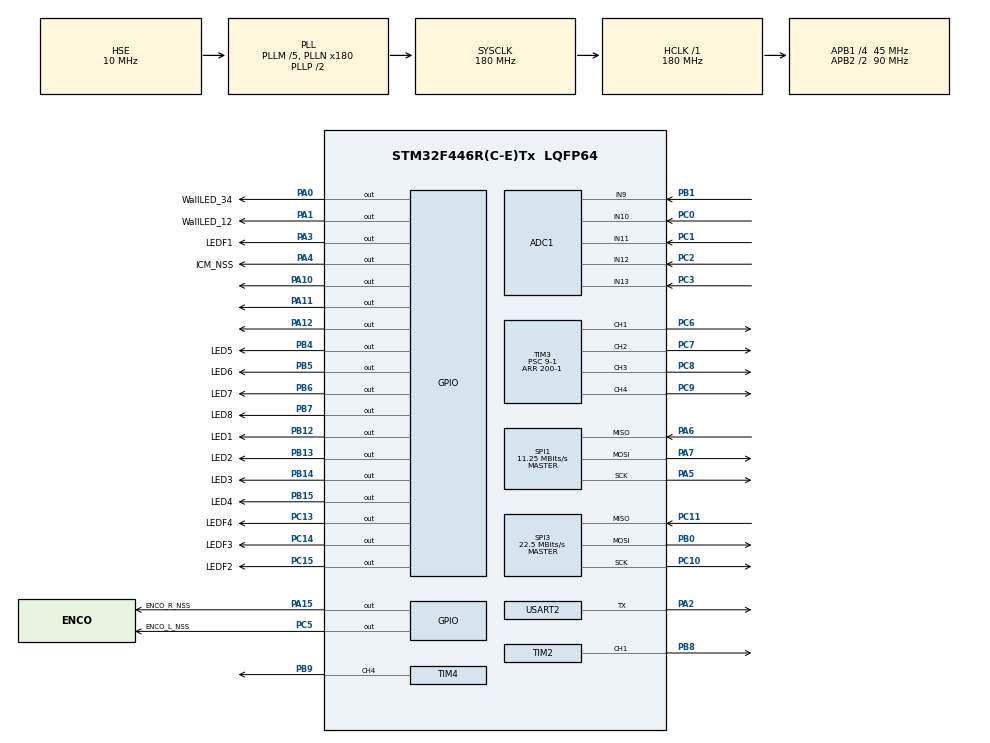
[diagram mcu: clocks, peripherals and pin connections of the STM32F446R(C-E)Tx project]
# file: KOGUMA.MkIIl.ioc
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ADC1.Channel-4\#ChannelRegularConversion=ADC_CHANNEL_9
ADC1.Channel-5\#ChannelRegularConversion=ADC_CHANNEL_10
ADC1.Channel-6\#ChannelRegularConversion=ADC_CHANNEL_11
ADC1.Channel-7\#ChannelRegularConversion=ADC_CHANNEL_12
ADC1.Channel-8\#ChannelRegularConversion=ADC_CHANNEL_13
ADC1.ClockPrescaler=ADC_CLOCK_SYNC_PCLK_DIV8
ADC1.ContinuousConvMode=ENABLE
ADC1.DMAContinuousRequests=ENABLE
ADC1.NbrOfConversion=5
ADC1.NbrOfConversionFlag=1
ADC1.Rank-4\#ChannelRegularConversion=1
ADC1.Rank-5\#ChannelRegularConversion=2
ADC1.Rank-6\#ChannelRegularConversion=3
ADC1.Rank-7\#ChannelRegularConversion=4
ADC1.Rank-8\#ChannelRegularConversion=5
ADC1.SamplingTime-4\#ChannelRegularConversion=ADC_SAMPLETIME_3CYCLES
ADC1.SamplingTime-5\#ChannelRegularConversion=ADC_SAMPLETIME_3CYCLES
ADC1.SamplingTime-6\#ChannelRegularConversion=ADC_SAMPLETIME_3CYCLES
ADC1.SamplingTime-7\#ChannelRegularConversion=ADC_SAMPLETIME_3CYCLES
ADC1.SamplingTime-8\#ChannelRegularConversion=ADC_SAMPLETIME_3CYCLES
ADC1.ScanConvMode=ENABLE
ADC1.master=1
Dma.ADC1.0.Direction=DMA_PERIPH_TO_MEMORY
Dma.ADC1.0.FIFOMode=DMA_FIFOMODE_DISABLE
Dma.ADC1.0.Instance=DMA2_Stream0
Dma.ADC1.0.MemDataAlignment=DMA_MDATAALIGN_HALFWORD
Dma.ADC1.0.MemInc=DMA_MINC_ENABLE
Dma.ADC1.0.Mode=DMA_NORMAL
Dma.ADC1.0.PeriphDataAlignment=DMA_PDATAALIGN_HALFWORD
Dma.ADC1.0.PeriphInc=DMA_PINC_DISABLE
Dma.ADC1.0.Priority=DMA_PRIORITY_LOW
Dma.Request0=ADC1
Mcu.Family=STM32F4
Mcu.Name=STM32F446R(C-E)Tx
Mcu.Package=LQFP64
NVIC.DMA2_Stream0_IRQn=true\:0\:0\:false\:false\:true\:false\:true\:true
NVIC.PriorityGroup=NVIC_PRIORITYGROUP_4
NVIC.TIM6_DAC_IRQn=true\:0\:0\:false\:false\:true\:true\:true\:true
PA0-WKUP.GPIO_Label=WallLED_34
PA0-WKUP.Signal=GPIO_Output
PA1.GPIO_Label=WallLED_12
PA1.Signal=GPIO_Output
PA10.Signal=GPIO_Output
PA11.Signal=GPIO_Output
PA12.Signal=GPIO_Output
PA13.Signal=SYS_JTMS-SWDIO
PA14.Signal=SYS_JTCK-SWCLK
PA15.GPIO_Label=ENCO_R_NSS
PA15.Signal=GPIO_Output
PA2.Mode=Half_duplex(single_wire_mode)
PA2.Signal=USART2_TX
PA3.GPIO_Label=LEDF1
PA3.Signal=GPIO_Output
PA4.GPIO_Label=ICM_NSS
PA4.Signal=GPIO_Output
PA5.Mode=Full_Duplex_Master
PA5.Signal=SPI1_SCK
PA6.Mode=Full_Duplex_Master
PA6.Signal=SPI1_MISO
PA7.Mode=Full_Duplex_Master
PA7.Signal=SPI1_MOSI
PB0.Mode=Full_Duplex_Master
PB0.Signal=SPI3_MOSI
PB1.Signal=ADCx_IN9
PB12.GPIO_Label=LED1
PB12.Signal=GPIO_Output
PB13.GPIO_Label=LED2
PB13.Signal=GPIO_Output
PB14.GPIO_Label=LED3
PB14.Signal=GPIO_Output
PB15.GPIO_Label=LED4
PB15.Signal=GPIO_Output
PB4.GPIO_Label=LED5
PB4.Signal=GPIO_Output
PB5.GPIO_Label=LED6
PB5.Signal=GPIO_Output
PB6.GPIO_Label=LED7
PB6.Signal=GPIO_Output
PB7.GPIO_Label=LED8
PB7.Signal=GPIO_Output
PB8.Signal=S_TIM2_CH1_ETR
PB9.Signal=S_TIM4_CH4
PC0.Signal=ADCx_IN10
PC1.Signal=ADCx_IN11
PC10.Mode=Full_Duplex_Master
PC10.Signal=SPI3_SCK
PC11.Mode=Full_Duplex_Master
PC11.Signal=SPI3_MISO
PC13.GPIO_Label=LEDF4
PC13.Signal=GPIO_Output
PC14-OSC32_IN.GPIO_Label=LEDF3
PC14-OSC32_IN.Signal=GPIO_Output
PC15-OSC32_OUT.GPIO_Label=LEDF2
PC15-OSC32_OUT.Signal=GPIO_Output
PC2.Signal=ADCx_IN12
PC3.Signal=ADCx_IN13
PC5.GPIO_Label=ENCO_L_NSS
PC5.Signal=GPIO_Output
PC6.Signal=S_TIM3_CH1
PC7.Signal=S_TIM3_CH2
PC8.Signal=S_TIM3_CH3
PC9.Signal=S_TIM3_CH4
PH0-OSC_IN.Mode=HSE-External-Oscillator
PH0-OSC_IN.Signal=RCC_OSC_IN
PH1-OSC_OUT.Mode=HSE-External-Oscillator
PH1-OSC_OUT.Signal=RCC_OSC_OUT
ProjectManager.HeapSize=0x200
ProjectManager.StackSize=0x400
ProjectManager.TargetToolchain=STM32CubeIDE
RCC.AHBFreq_Value=180000000
RCC.APB1CLKDivider=RCC_HCLK_DIV4
RCC.APB1Freq_Value=45000000
RCC.APB1TimFreq_Value=90000000
RCC.APB2CLKDivider=RCC_HCLK_DIV2
RCC.APB2Freq_Value=90000000
RCC.APB2TimFreq_Value=180000000
RCC.CortexFreq_Value=180000000
RCC.HCLKFreq_Value=180000000
RCC.HSE_VALUE=10000000
RCC.PLLM=5
RCC.PLLN=180
RCC.PLLSourceVirtual=RCC_PLLSOURCE_HSE
RCC.SYSCLKFreq_VALUE=180000000
RCC.SYSCLKSource=RCC_SYSCLKSOURCE_PLLCLK
RCC.USBFreq_Value=180000000
RCC.VCOOutputFreq_Value=360000000
SH.ADCx_IN10.0=ADC1_IN10,IN10
SH.ADCx_IN11.0=ADC1_IN11,IN11
SH.ADCx_IN12.0=ADC1_IN12,IN12
SH.ADCx_IN13.0=ADC1_IN13,IN13
SH.ADCx_IN9.0=ADC1_IN9,IN9
SH.S_TIM2_CH1_ETR.0=TIM2_CH1,PWM Generation1 CH1
SH.S_TIM3_CH1.0=TIM3_CH1,PWM Generation1 CH1
SH.S_TIM3_CH2.0=TIM3_CH2,PWM Generation2 CH2
SH.S_TIM3_CH3.0=TIM3_CH3,PWM Generation3 CH3
SH.S_TIM3_CH4.0=TIM3_CH4,PWM Generation4 CH4
SH.S_TIM4_CH4.0=TIM4_CH4,PWM Generation4 CH4
SPI1.BaudRatePrescaler=SPI_BAUDRATEPRESCALER_8
SPI1.CLKPhase=SPI_PHASE_2EDGE
SPI1.CLKPolarity=SPI_POLARITY_HIGH
SPI1.CalculateBaudRate=11.25 MBits/s
SPI1.Direction=SPI_DIRECTION_2LINES
SPI1.Mode=SPI_MODE_MASTER
SPI1.VirtualType=VM_MASTER
SPI3.CLKPhase=SPI_PHASE_2EDGE
SPI3.CLKPolarity=SPI_POLARITY_HIGH
SPI3.CalculateBaudRate=22.5 MBits/s
SPI3.Direction=SPI_DIRECTION_2LINES
SPI3.Mode=SPI_MODE_MASTER
SPI3.VirtualNSS=VM_NSSHARD
SPI3.VirtualType=VM_MASTER
TIM2.Channel-PWM\ Generation1\ CH1=TIM_CHANNEL_1
TIM2.Period=100-1
TIM2.Prescaler=18-1
TIM2.Pulse-PWM\ Generation1\ CH1=15
TIM3.Channel-PWM\ Generation1\ CH1=TIM_CHANNEL_1
TIM3.Channel-PWM\ Generation2\ CH2=TIM_CHANNEL_2
TIM3.Channel-PWM\ Generation3\ CH3=TIM_CHANNEL_3
TIM3.Channel-PWM\ Generation4\ CH4=TIM_CHANNEL_4
TIM3.Period=200-1
TIM3.Prescaler=9-1
TIM4.Channel-PWM\ Generation4\ CH4=TIM_CHANNEL_4
TIM4.Period=100-1
TIM4.Prescaler=90-1
TIM6.AutoReloadPreload=TIM_AUTORELOAD_PRELOAD_ENABLE
TIM6.Period=1000-1
TIM6.Prescaler=90-1
TIM6.TIM_MasterOutputTrigger=TIM_TRGO_UPDATE
USART2.Mode=MODE_TX
USART2.VirtualMode=VM_ASYNC
VP_TIM6_VS_ClockSourceINT.Mode=Enable_Timer
board=custom

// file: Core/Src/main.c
/* USER CODE BEGIN Header */
/**
 ******************************************************************************
 * @file           : main.c
 * @brief          : Main program body
 ******************************************************************************
 * @attention
 *
 * Copyright (c) 2025 STMicroelectronics.
 * All rights reserved.
 *
 * This software is licensed under terms that can be found in the LICENSE file
 * in the root directory of this software component.
 * If no LICENSE file comes with this software, it is provided AS-IS.
 *
 ******************************************************************************
 */
/* USER CODE END Header */
#include "main.h"
#include "adc.h"
#include "dma.h"
#include "spi.h"
#include "tim.h"
#include "usart.h"
#include "gpio.h"

/* USER CODE BEGIN Includes */
#include <stdio.h>
#include "lsm6dsr.h"
#include "motor.h"
#include "PL_encoder.h"
#include "PL_timer.h"
#include "Motor.h"
#include "LOG.h"
#include "PL_sensor.h"
#include "UI.h"
#include "Wallsensor.h"
#include "Maze.h"
#include "Move.h"
#include "Failsafe.h"
#include "Define.h"
#include "SensorNoise.h"
/* USER CODE END Includes */

/* USER CODE BEGIN PD */
/* Maze_Search() の探索の組み合わせ(モード0) */
#define SEARCH_SLALOM		0x00	//スラローム探索(500mm/s、吸引なし)
#define SEARCH_SUCTION		0x01	//吸引探索(1000mm/s、吸引あり)
#define SEARCH_ALL			0x02	//復路でエセ全面探索
#define SEARCH_ONEWAY		0x04	//片道: ゴールで止まる
#define SEARCH_KNOWN		0x08	//既知区間加速(探索済みの区間はまとめて速く走る)
#define SEARCH_DIJKSTRA		0x10	//ゴール後にダイクストラ経路上の未確認の壁を見に行く
#define SEARCH_SHORTEST		0x20	//スタートに戻ったあと最短走行(モード1 No.5と同じ)
#define SEARCH_REPEAT		0x40	//最短走行を SEARCH_REPEAT_N 回(SEARCH_SHORTEST と一緒に。2回目からは、前の最短のゴールからスタートへ帰ってから走る)
#define SEARCH_REPEAT_N		4
#define SEARCH_KNOWN_NANAME	0x80	//既知区間を斜めで走る(SEARCH_KNOWN と一緒に。Move.c の G_Known_Naname、G_Turn1000)
/* USER CODE END PD */

/* USER CODE BEGIN PV */
/* 1 にすると、最短走行(モード1、モード0 No.8〜10 の探索後の最短)の壁切れを柱で見る
 * (区画の境目の柱の端から境目の位置を求め、前距離を直す。motor.c の G_WallCut_Pillar、
 * 設計は docs/pillar_cut_design.md)。0 なら従来どおり。探索中と斜めの壁切れはいつも従来どおり。
 * 2026-10-18 から 1(柱で前距離を合わせる。前距離の X の読み替えは motor.c の Pillar_X_Scale / Pillar_X_Ofs) */
static int Short_WallCut_Pillar = 1;

/* USER CODE END PV */

void SystemClock_Config(void);
/* USER CODE BEGIN PFP */
static void Maze_Search(int flags);
static void Maze_Shortest_Run(void (*run)(int, int), int max, int ac);
static void Output_All(void);
/* USER CODE END PFP */

int main(void) {

	/* MCU Configuration--------------------------------------------------------*/

	/* Reset of all peripherals, Initializes the Flash interface and the Systick. */
	HAL_Init();

	/* Configure the system clock */
	SystemClock_Config();

	/* Initialize all configured peripherals */
	MX_GPIO_Init();
	MX_DMA_Init();
	MX_ADC1_Init();
	MX_SPI1_Init();
	MX_SPI3_Init();
	MX_TIM2_Init();
	MX_TIM3_Init();
	MX_TIM4_Init();
	MX_USART2_UART_Init();
	MX_TIM6_Init();
	/* USER CODE BEGIN 2 */

	//HAL_TIM_Base_Start_IT(&htim6);
	pl_timer_init();
	lsm6dsr_init();
	Switch_Init();	//スイッチ(PB3)。フェイルセーフの解除に使う
	Maze_Initialization();
	if (g_V_batt < LIMITBATT) {
		while (1) {
			LED_Reset();
			HAL_Delay(500);
			LED_ALL_ON();
			HAL_Delay(500);
		}
	}

	LED_Setup_Robot();

//
	HAL_TIM_PWM_Start(&htim4, TIM_CHANNEL_4); //buzeer
//
//	HAL_TIM_PWM_Start(&htim2, TIM_CHANNEL_1);

	/* USER CODE END 2 */

	/* Infinite loop */
	while (1) {

		/* USER CODE BEGIN 3 */

		if (Failsafe_Flag() == 1) {	//走りの途中でフェイルセーフで止まった: スイッチを押すまで待ち、モード0・No.0 に戻る
			Failsafe_Wait_Reset();
		}
		LED_program_number(Encorder_number_out());
		LED_program_mode(Encorder_mode_out());
		Maze_Unkown_ALL_ModeOFF();
		Motor_Setup_Voltage();
		if (Encorder_mode_out() == 0) {		//大会用
			/* 探索の組み合わせは Maze_Search() の引数で指定する(下の SEARCH_*)。
			 * No.0 と No.13〜15 は何もしない */
			int n = Encorder_number_out();
			int flags = -1;
			if (n == 1) {			//スラローム探索 往復
				flags = SEARCH_SLALOM;
			} else if (n == 2) {	//スラローム探索+エセ全面探索
				flags = SEARCH_SLALOM | SEARCH_ALL;
			} else if (n == 3) {	//スラローム探索 片道(ゴールで止まる)
				flags = SEARCH_SLALOM | SEARCH_ONEWAY;
			} else if (n == 4) {	//吸引探索 往復
				flags = SEARCH_SUCTION;
			} else if (n == 5) {	//吸引探索+エセ全面探索
				flags = SEARCH_SUCTION | SEARCH_ALL;
			} else if (n == 6) {	//ダイクストラ誘導の未知壁探索
				flags = SEARCH_SUCTION | SEARCH_DIJKSTRA;
			} else if (n == 7) {	//ダイクストラ誘導の未知壁探索+既知区間加速
				flags = SEARCH_SUCTION | SEARCH_DIJKSTRA | SEARCH_KNOWN;
			} else if (n == 8) {	//スラローム探索 往復 → 最短
				flags = SEARCH_SLALOM | SEARCH_SHORTEST;
			} else if (n == 9) {	//吸引探索 往復 → 最短
				flags = SEARCH_SUCTION | SEARCH_SHORTEST;
			} else if (n == 10) {	//ダイクストラ誘導+既知区間加速 → 最短
				flags = SEARCH_SUCTION | SEARCH_DIJKSTRA | SEARCH_KNOWN
						| SEARCH_SHORTEST;
			} else if (n == 11) {	//No.10 の最短を4回(最短のあとはゴールから、帰りもダイクストラ誘導で探索しながらスタートへ帰る)
				flags = SEARCH_SUCTION | SEARCH_DIJKSTRA | SEARCH_KNOWN
						| SEARCH_SHORTEST | SEARCH_REPEAT;
			} else if (n == 12) {	//No.10 の既知区間を斜めで走る(お遊び。G_Turn1000、2026-10-21)
				flags = SEARCH_SUCTION | SEARCH_DIJKSTRA | SEARCH_KNOWN
						| SEARCH_KNOWN_NANAME | SEARCH_SHORTEST;
			}
			if ((flags >= 0) && (Sensor_Enter() == 1)) {
				Maze_Search(flags);
			}
		} else if (Encorder_mode_out() == 1) {		//�?短
			/* 最短走行。No.0 と No.14〜15 は何もしない。
			 * No.12・No.13 は No.8・No.5 と同じ走りを、壁切れだけ従来(Short_WallCut_Pillar = 0)で走る(柱と比べる用) */
			int n = Encorder_number_out();
			void (*run)(int, int) = NULL;
			int ac = 0;
			int conv = 0;	//1 なら壁切れを従来にする
			int ac_nn = 0;	//斜めの直線の加速度(0 なら既定: ac-5000)
			if (n == 1) {			//BFS コーナー2000 直線6000 加速15000
				run = Short_NANAME_Move2000;
				ac = 15000;
				ac_nn = 10000;
			} else if (n == 2) {	//BFS コーナー2000 直線6000 加速20000
				run = Short_NANAME_Move2000;
				ac = 20000;
				ac_nn = 15000;
			} else if (n == 3) {	//BFS コーナー2400 直線6000 加速20000
				run = Short_NANAME_Move2400;
				ac = 20000;
				ac_nn = 15000;
			} else if (n == 4) {	//ダイクストラ コーナー2000 直線6000 加速15000
				run = Short_Dijkstra_Move2000;
				ac = 15000;
				ac_nn = 10000;
			} else if (n == 5) {	//ダイクストラ コーナー2000 直線6000 加速20000
				run = Short_Dijkstra_Move2000;
				ac = 20000;
				ac_nn = 15000;
			} else if (n == 6) {	//ダイクストラ コーナー2000 直線6000 加速23000
				run = Short_Dijkstra_Move2000;
				ac = 23000;
				ac_nn = 18000;
			} else if (n == 7) {	//ダイクストラ コーナー2000 直線6000 加速25000
				run = Short_Dijkstra_Move2000;
				ac = 25000;
				ac_nn = 20000;
			} else if (n == 8) {	//ダイクストラ コーナー2400 直線6000 加速20000
				run = Short_Dijkstra_Move2400;
				ac = 20000;
				ac_nn = 15000;
			} else if (n == 9) {	//ダイクストラ コーナー2400 直線6000 加速23000
				run = Short_Dijkstra_Move2400;
				ac = 23000;
				ac_nn = 18000;
			} else if (n == 10) {	//BFS ターンごとの通過速度(2400基準) 直線6000 加速20000
				run = Short_NANAME_MoveTurnV;
				ac = 20000;
				ac_nn = 15000;
			} else if (n == 11) {	//ダイクストラ ターンごとの通過速度(2400基準) 直線6000 加速20000
				run = Short_Dijkstra_MoveTurnV;
				ac = 20000;
				ac_nn = 15000;
			} else if (n == 12) {	//No.8 と同じ(ダイクストラ 2400)、壁切れは従来
				run = Short_Dijkstra_Move2400;
				ac = 20000;
				ac_nn = 15000;
				conv = 1;
			} else if (n == 13) {	//No.5 と同じ(ダイクストラ 2000)、壁切れは従来
				run = Short_Dijkstra_Move2000;
				ac = 20000;
				ac_nn = 15000;
				conv = 1;
			}
			if ((run != NULL) && (Sensor_Enter() == 1)) {
				int pillar_prev = Short_WallCut_Pillar;
				if (conv) {
					Short_WallCut_Pillar = 0;
				}
				G_Short_AC_NANAME = ac_nn;
				Maze_Shortest_Run(run, 6000, ac);
				G_Short_AC_NANAME = 0;
				Short_WallCut_Pillar = pillar_prev;
			}
		} else if (Encorder_mode_out() == 2) {		//サーキ�?�?

		} else if (Encorder_mode_out() == 3) {		//�?バッグ用
			if (Encorder_number_out() == 1) {		//2m/s
				if (Sensor_Enter() == 1) {
					Buzzer_Enter();
					Sensor_Start();

					Motor_Setup();
					Motor_Stop();
					Short_NANAME_Move2000(2000, 20000);
					Motor_Free();
					LED_Reset();
					HAL_Delay(500);
					Encorder_count_reset();
				}
			} else if (Encorder_number_out() == 2) {		//
				if (Sensor_Enter() == 1) {
					Buzzer_Enter();
					Sensor_Start();

					Motor_Setup();
					Motor_Stop();
					Short_NANAME_Move2400(2400, 20000);
					Motor_Free();
					LED_Reset();
					HAL_Delay(500);
					Encorder_count_reset();
				}
			} else if (Encorder_number_out() == 3) {		//
				if (Sensor_Enter() == 1) {
					Buzzer_Enter();
					Sensor_Start();

					Motor_Setup();
					Motor_Stop();
					Short_NANAME_Move2700(2700, 20000);
					Motor_Free();
					LED_Reset();
					HAL_Delay(500);
					Encorder_count_reset();
				}
			} else if (Encorder_number_out() == 4) {		//距離キャリブレーション
				if (Sensor_Enter() == 1) {
					Buzzer_Enter();
					Sensor_Start();
					Wall_Distance_Calibration();
				}
			} else if (Encorder_number_out() == 5) {		//会場ごとの感度合わせ(区画中心)
				if (Sensor_Enter() == 1) {
					Buzzer_Enter();
					Sensor_Start();
					Wall_Center_Calibration();
				}
			} else if ((Encorder_number_out() >= 6)
					&& (Encorder_number_out() <= 9)) {	//壁切れの位置のテスト
				/* スタート位置(後ろの壁に付けて置く)から4区画まっすぐ走り、柱の端(fall)と、
				 * 比べるための閾値の判定(th: av 従来の g_sensor_av < Cut_*、med 3回の中央値 < Cut_*)、
				 * 1mmごとの横センサの値(sig)を残す。結果は出力(モード4 No.7)で出す。
				 * fall の c-border は、境目の推定 c と区画の境目(114 + 180k)の差。0 になるように Edge_Off を直す。
				 * No.6: 500(吸引なし)、No.7: 1000、No.8: 2000、No.9: 2400(No.7〜9は吸引70)。加速度20000。
				 * 同じ置き方で速度を変えて走らせ、c-border が速度・左右・種類でどれだけ変わるかを見る */
				if (Sensor_Enter() == 1) {
					const float v_tab[4] = { 500, 1000, 2000, 2400 };
					int no = Encorder_number_out();
					float v = v_tab[no - 6];
					Buzzer_Enter();
					Sensor_Start();
					Motor_Setup();
					if (no >= 7) {
						Suction_Start(70);
						HAL_Delay(500);
					}
					Edge_Log_Start(1, 114, v);
					Motor_trapezoid_PID(0, v, 0, 20000, 114 + 180 * 4);
					Motor_Stop();
					Edge_Log_Stop();
					Suction_Stop();
					Motor_Free();
					Encorder_count_reset();
				}
			} else if (Encorder_number_out() == 10) {	//吸引のときのセンサのノイズ
				/* 止まったまま(モーターは使わない)、吸引(0/35/50/70)とセンサの読み方(吸引のPWMに合わせて読むか)を
				 * 変えて、点灯時・消灯時の生の値のばらつきを測る。15秒ほど。
				 * USBをつないだまま走らせると、測ったそばから出す(tools/viewer.html でグラフになる)。
				 * つながずに走らせたときは、出力(モード4 No.7)でばらつきの表だけ出る。docs/sensor_noise.md */
				if (Sensor_Enter() == 1) {
					Buzzer_Enter();
					Sensor_Start();
					SensorNoise_Run();
					Buzzer_Enter();
					Encorder_count_reset();
				}
			}
		} else if (Encorder_mode_out() == 4) {		//基本調整
			if (Encorder_number_out() == 0) {		//センサ
				Wall_search_LED();
//								__HAL_TIM_SET_COMPARE(&htim2, TIM_CHANNEL_1, 35);
//								__HAL_TIM_SET_AUTORELOAD(&htim2, 100);
//								HAL_TIM_PWM_Start(&htim2, TIM_CHANNEL_1);
				//Suction_Start(35);
//				printf("FL = %4d //", g_sensor_av[0]);
//				printf(" L = %4d //", g_sensor_av[2]);
//				printf(" R = %4d //", g_sensor_av[1]);
//				printf("FR = %4d //", g_sensor_av[3]);
				printf("FL = %4d //", g_sensor_av10[0]);
				printf(" L = %4d //", g_sensor_av10[2]);
				printf(" R = %4d //", g_sensor_av10[1]);
				printf("FR = %4d //", g_sensor_av10[3]);
//				printf("FL = %4d //", g_sensor[0][0]);
//				printf(" L = %4d //", g_sensor[2][0]);
//				printf(" R = %4d //", g_sensor[1][0]);
//				printf("FR = %4d //", g_sensor[3][0]);
				printf("BATT = %.2f//", g_V_batt);
				printf("GyroZ = %.3f\n\r", read_NoiseCut_gyro_z());
			} else if (Encorder_number_out() == 1) {		//直進
				if (Sensor_Enter() == 1) {
					Buzzer_Enter();
					Sensor_Start();
					///
					/* タイヤ径の測定用(2026-10-09): 本番と同じ吸引で、滑らないようにゆっくり 180mm×6 = 1080mm 走る。
					 * 実際に進んだ距離を測り、Define.h の TIREDIAMETER = 今の値 × 実際の距離 / エンコーダの距離 にする。
					 * エンコーダの距離は走行ログ(モード4 No.7)の最後の x。1080 ではない: 減速は時間で進めるので、
					 * 速度が目標に遅れた分だけ手前で止まる(2026-10-21 は 1065.1)
					 * 吸引は探索(モード0の吸引探索)と同じ 35(2026-10-21。それまでは 2400 などと同じ 70) */
					Motor_Setup();
					Suction_Start(35);
					LOG_get_start();
					//					Motor_trapezoid_PID(0, 2000, 2000, 60000, 24);
					//					Motor_trapezoid_PID(2000, 2000, 0, 35000, 90);
					//Motor_Multistage_PID(0, 7000, 0, 25000, 180 * 9);
					//Motor_trapezoid_PID(0, 3000, 0, 20000, 180 * 9);
					//Motor_trapezoid_Asymmetric_PID(0, 4000, 0, 23000, 180 * 9);
					//Motor_trapezoid_PID(0, 3000, 0, 10000, 180*8);	//2026-10-09 まで(吸引35)
					Motor_trapezoid_PID(0, 1000, 0, 5000, 180 * 6);
					Motor_Stop();
					Motor_Stop();
					Motor_Stop();
					Suction_Stop();
					LOG_get_end();
					///
					//Motor_trapezoid_PID(0, 6000, 0, 50000, 180 * 4);
					Encorder_count_reset();
				}
			} else if (Encorder_number_out() == 2) {//??????��?��??��?��???��?��??��?��????��?��??��?��???��?��??��?��?????��?��??��?��???��?��??��?��????��?��??��?��???��?��??��?��?シン??????��?��??��?��???��?��??��?��????��?��??��?��???��?��??��?��?????��?��??��?��???��?��??��?��????��?��??��?��???��?��??��?��?
				if (Sensor_Enter() == 1) {
					Buzzer_Enter();
					Sensor_Start();
					///
					Motor_Setup();
					Suction_Start(35);
					LOG_get_start();
					//					for (int i = 0; i < 20; i++) {
					//						Motor_trapezoid_Turn(90, 600, 20000);
					//						Motor_Stop();
					//					}
					Motor_trapezoid_Turn(180, 1000, 30000);
					//Motor_trapezoid_Turn(3600, 600, 20000);
					///
					Motor_Stop();
					Suction_Stop();
					LOG_get_end();
					Encorder_count_reset();
				}
			} else if (Encorder_number_out() == 3) {//スラロー??????��?��??��?��???��?��??��?��????��?��??��?��???��?��??��?��?????��?��??��?��???��?��??��?��????��?��??��?��???��?��??��?��?
				if (Sensor_Enter() == 1) {
					Buzzer_Enter();
					Sensor_Start();
					//
					Motor_Setup();
					LOG_get_start();
					Motor_trapezoid_PID(0, 500, 500, 5000, 90 + 180 + 20);
					Motor_Sula_COS(500, 90, 700, 10000);
					Motor_trapezoid(500, 500, 0, 5000, 180 + 25);
					Motor_Stop();
					LOG_get_end();
					//
					Encorder_count_reset();
				}
			} else if (Encorder_number_out() == 4) {		//斜め
				if (Sensor_Enter() == 1) {
					Buzzer_Enter();
					Sensor_Start();
					Suction_Start(70);
					Motor_Setup();
					//Motor_NANAME_PID(0, 2000, 0, 5000, 127.3 * 6);
					Motor_NANAME_PID(0, 5000, 0, 20000, 127.3 * 6);
					Motor_Stop();
					Suction_Stop();
					Encorder_count_reset();
				}
			} else if (Encorder_number_out() == 5) {//吸??????��?��??��?��???��?��??��?��????��?��??��?��???��?��??��?��?????��?��??��?��???��?��??��?��????��?��??��?��???��?��??��?��?
				if (Sensor_Enter() == 1) {
					Buzzer_Enter();
					Sensor_Start();
					__HAL_TIM_SET_COMPARE(&htim2, TIM_CHANNEL_1, 90);
					__HAL_TIM_SET_AUTORELOAD(&htim2, 99);
					HAL_TIM_PWM_Start(&htim2, TIM_CHANNEL_1);
					while (1) {
						if (Sensor_Enter() == 1) {
							break;
						}
					}
					HAL_TIM_PWM_Stop(&htim2, TIM_CHANNEL_1);

				}
			} else if (Encorder_number_out() == 6) {		//壁合わせ
				if (Sensor_Enter() == 1) {
					Buzzer_Enter();
					Sensor_Start();

					Motor_Setup();
					Suction_Start(35);
					Motor_Robot_Alignment();
					Motor_Stop();
					Suction_Stop();
					Encorder_count_reset();
				}
			} else if (Encorder_number_out() == 7) {		//出力(残っているデータを全部)
				if (Sensor_Enter() == 1) {
					Buzzer_Enter();
					Sensor_Start();
					Output_All();
					HAL_Delay(1000);
				}
			} else if (Encorder_number_out() == 8) {		//直進(横壁制御をセンサ値版で)
				/* No.1と同じ直進を、この走行のあいだだけ G_WallCtrl_Use_mm = 0
				 * (従来のセンサ値版、ゲインは Kp / Kd)で走る。標準(距離版)との比較・切り戻し用。
				 * 比べられるように、速度・加速度・吸引・距離はNo.1と同じにする(2026-10-18 まではNo.1と違い 3000・吸引35だった) */
				if (Sensor_Enter() == 1) {
					Buzzer_Enter();
					Sensor_Start();
					Motor_Setup();
					Suction_Start(70);
					LOG_get_start();
					int use_mm_prev = G_WallCtrl_Use_mm;
					G_WallCtrl_Use_mm = 0;
					Motor_trapezoid_PID(0, 1000, 0, 5000, 180 * 8);
					Motor_Stop();
					G_WallCtrl_Use_mm = use_mm_prev;
					Suction_Stop();
					LOG_get_end();
					Encorder_count_reset();
				}
			} else if ((Encorder_number_out() >= 9)
					&& (Encorder_number_out() <= 14)) {	//最初のターンの調整
				/* 最短走行の最初のターン(右)だけを、スタート位置から走る。
				 * No.9: 大回り90、No.10: 斜め入り45、No.11: 斜め入り135。
				 * No.12〜14: 同じターンを、加速しながら曲がる方式(G_First_Turn_Accel = 1)で走る。
				 * ターンのあとは後距離で2400へ加速し、そのまままっすぐ(斜めは斜めに)減速して止まる。
				 * パラメータは Move.c の G_First_Turn。ログ(2秒)はモード4 No.7で出力 */
				if (Sensor_Enter() == 1) {
					int no = Encorder_number_out();
					int m = (no - 9) % 3;
					int kind = (m == 0) ? FIRST_TURN_BIG90 :
								(m == 1) ? FIRST_TURN_IN45 : FIRST_TURN_IN135;
					int accel_prev = G_First_Turn_Accel;
					G_First_Turn_Accel = (no >= 12);
					Buzzer_Enter();
					Sensor_Start();
					Suction_Start(70);
					HAL_Delay(500);
					Motor_Setup();
					float v = Short_First_Turn_Run(kind, 1, 2400);
					G_First_Turn_Accel = accel_prev;
					if (kind == FIRST_TURN_BIG90) {
						Motor_trapezoid_PID(v, v, 0, 30000, 180);
					} else {
						Motor_NANAME_PID(v, v, 0, 30000, 127.3 * 2);
					}
					Motor_Stop();
					HAL_Delay(300);
					Suction_Stop();
					LOG_get_end();
					Encorder_count_reset();
				}
			}
		} else if (Encorder_mode_out() == 5) {		//1m/s
			if (Encorder_number_out() == 0) {		//90小回�?
				if (Sensor_Enter() == 1) {
					Buzzer_Enter();
					Sensor_Start();

					Motor_Setup();
					Suction_Start(35);

					HAL_Delay(1000);
					LOG_get_start();
					Motor_trapezoid_PID(0, 1000, 1000, 8000, 90 + 180);
					//Motor_trapezoid_PID(1000, 1000, 1000, 15000, 15);
					Motor_Sula_ST(1000, 1000, 1000, 15000, 15);
					Motor_Sula_COS(1000, 90, 1640, 60000);
					Motor_trapezoid(1000, 1000, 1000, 15000, 50);
					Motor_trapezoid(1000, 1000, 0, 15000, 180);

					Motor_Stop();

					HAL_Delay(500);
					Suction_Stop();
					LOG_get_end();

					Encorder_count_reset();

				}
			} else if ((Encorder_number_out() >= 1)
					&& (Encorder_number_out() <= 7)) {	//1000のターン単体(G_Turn1000、左旋回)
				/* No.1 大回り90、2 大回り180、3 斜め入り45、4 斜め入り135、5 斜め出45、6 斜め出135、7 V90。
				 * 値は Move.c の G_Turn1000(吸引探索の既知区間の斜め、モード0 No.12 と共通、2026-10-21)。吸引は探索と同じ35 */
				if (Sensor_Enter() == 1) {
					int n = Encorder_number_out();
					Buzzer_Enter();
					Sensor_Start();

					Motor_Setup();
					Suction_Start(35);

					HAL_Delay(1000);
					LOG_get_start();
					Turn1000_Test(n - 1);

					Motor_Stop();

					HAL_Delay(500);
					Suction_Stop();
					LOG_get_end();

					Encorder_count_reset();
				}
			}
		} else if (Encorder_mode_out() == 6) {	//2.0m/s
			if (Encorder_number_out() == 0) {		//
				if (Sensor_Enter() == 1) {
					Buzzer_Enter();
					Sensor_Start();

					Motor_Setup();
					Suction_Start(51);

					HAL_Delay(1000);
					LOG_get_start();
					Motor_trapezoid_PID(0, 6000, 0, 40000, 180 * 6);

					Motor_Stop();

					HAL_Delay(500);
					Suction_Stop();
					LOG_get_end();

					Encorder_count_reset();
				}
			} else if ((Encorder_number_out() >= 1)
					&& (Encorder_number_out() <= 7)) {	//2000のターン単体(G_Turn2000、左旋回)
				/* No.1 大回り90、2 大回り180、3 斜め入り45、4 斜め入り135、5 斜め出45、6 斜め出135、7 V90。
				 * 値は Move.c の G_Turn2000(BFS・ダイクストラの2000と共通、2026-10-09) */
				if (Sensor_Enter() == 1) {
					int n = Encorder_number_out();
					Buzzer_Enter();
					Sensor_Start();

					Motor_Setup();
					Suction_Start(50);

					HAL_Delay(1000);
					LOG_get_start();
					Turn2000_Test(n - 1);

					Motor_Stop();

					HAL_Delay(500);
					Suction_Stop();
					LOG_get_end();

					Encorder_count_reset();
				}
			}
		} else if (Encorder_mode_out() == 7) {	//2.4m/s
			if (Encorder_number_out() == 0) {		//
				if (Sensor_Enter() == 1) {
					Buzzer_Enter();
					Sensor_Start();

				}
			} else if ((Encorder_number_out() >= 1)
					&& (Encorder_number_out() <= 7)) {	//2400のターン単体(G_Turn2400、左旋回)
				/* No.1 大回り90、2 大回り180、3 斜め入り45、4 斜め入り135、5 斜め出45、6 斜め出135、7 V90。
				 * 値は Move.c の G_Turn2400(Short_NANAME_Move2400 と共通、2026-10-21)。1つずつ単体で走る(Turn2400_Test) */
				if (Sensor_Enter() == 1) {
					int n = Encorder_number_out();
					Buzzer_Enter();
					Sensor_Start();

					Motor_Setup();
					Suction_Start(70);

					HAL_Delay(1000);
					LOG_get_start();
					Turn2400_Test(n - 1);

					Motor_Stop();

					HAL_Delay(500);
					Suction_Stop();
					LOG_get_end();

					Encorder_count_reset();
				}
			}
		} else if (Encorder_mode_out() == 8) {			//2.7m/s
			if (Encorder_number_out() == 0) {		//
				if (Sensor_Enter() == 1) {
					Buzzer_Enter();
					Sensor_Start();
				}
			} else if (Encorder_number_out() == 1) {		//
				if (Sensor_Enter() == 1) {
					Buzzer_Enter();
					Sensor_Start();

					Motor_Setup();
					Suction_Start(85);

					HAL_Delay(1000);
					LOG_get_start();
					Motor_trapezoid_PID(0, 2700, 2700, 25000, 180 + 90 + 90);
					Motor_trapezoid_PID(2700, 2700, 2700, 15000, 25);
					//Motor_Wallcut_ST(2000, 50, 0);
					Motor_Sula_COS(2700, 90, 2300, 70000);
					Motor_trapezoid(2700, 2700, 2700, 15000, 68);
					Motor_trapezoid(2700, 2700, 0, 30000, 180);

					Motor_Stop();

					HAL_Delay(500);
					Suction_Stop();
					LOG_get_end();

					Encorder_count_reset();
				}
			} else if (Encorder_number_out() == 2) {		//
				if (Sensor_Enter() == 1) {
					Buzzer_Enter();
					Sensor_Start();

					Motor_Setup();
					Suction_Start(85);

					HAL_Delay(1000);
					LOG_get_start();
					Motor_trapezoid_PID(0, 2700, 2700, 25000, 180 + 90 + 90);
					Motor_trapezoid_PID(2700, 2700, 2700, 15000, 10);
					//Motor_Wallcut_ST(2000, 50, 0);
					Motor_Sula_COS(2700, 180, 1700, 40000);
					Motor_trapezoid(2700, 2700, 2700, 15000, 58);
					Motor_trapezoid(2700, 2700, 0, 30000, 180);

					Motor_Stop();

					HAL_Delay(500);
					Suction_Stop();
					LOG_get_end();

					Encorder_count_reset();
				}
			} else if (Encorder_number_out() == 3) {		//
				if (Sensor_Enter() == 1) {
					Buzzer_Enter();
					Sensor_Start();
					Motor_Setup();
					Suction_Start(85);

					HAL_Delay(1000);
					LOG_get_start();
					Motor_trapezoid_PID(0, 2700, 2700, 25000, 90 + 90 + 180);
					Motor_trapezoid_PID(2700, 2700, 2700, 15000, 2);
					Motor_Sula_COS(2700, 45, 2850, 100000);
					Motor_trapezoid(2700, 2700, 2700, 15000, 85);
					Motor_trapezoid(2700, 2700, 0, 30000, 127.3 * 2);

					Motor_Stop();

					HAL_Delay(500);
					Suction_Stop();
					LOG_get_end();

					Encorder_count_reset();
				}
			} else if (Encorder_number_out() == 4) {		//
				if (Sensor_Enter() == 1) {
					Buzzer_Enter();
					Sensor_Start();
					Motor_Setup();
					Suction_Start(85);

					HAL_Delay(1000);
					LOG_get_start();
					Motor_trapezoid_PID(0, 2700, 2700, 25000, 90 + 90 + 180);
					Motor_trapezoid_PID(2700, 2700, 2700, 15000, 11);
					Motor_Sula_COS(2700, 135, 2200, 60000);
					Motor_trapezoid(2700, 2700, 2700, 15000, 70);
					Motor_trapezoid(2700, 2700, 0, 30000, 127.3 * 2);

					Motor_Stop();

					HAL_Delay(500);
					Suction_Stop();
					LOG_get_end();

					Encorder_count_reset();
				}
			} else if (Encorder_number_out() == 5) {		//
				if (Sensor_Enter() == 1) {
					Buzzer_Enter();
					Sensor_Start();

					Motor_Setup();
					Suction_Start(85);

					HAL_Delay(1000);
					LOG_get_start();

					Motor_trapezoid_PID(0, 2700, 2700, 25000, 90 + 90 + 180);
					Motor_trapezoid_PID(2700, 2700, 2700, 15000, 2);
					Motor_Sula_COS(2700, 45, 2850, 100000);
					Motor_trapezoid(2700, 2700, 2700, 15000, 85);
					Motor_NANAME_PID(2700, 2700, 2700, 30000, 127.3);

					Motor_trapezoid(2700, 2700, 2700, 15000, 12);
					Motor_Sula_COS(2700, 45, 1800, 70000);
					Motor_trapezoid(2700, 2700, 2700, 15000, 10);
					Motor_trapezoid(2700, 2700, 0, 30000, 180);

					Motor_Stop();

					HAL_Delay(500);
					Suction_Stop();
					LOG_get_end();

					Encorder_count_reset();
				}
			} else if (Encorder_number_out() == 6) {		//
				if (Sensor_Enter() == 1) {
					Buzzer_Enter();
					Sensor_Start();

					Motor_Setup();
					Suction_Start(85);

					HAL_Delay(1000);
					LOG_get_start();

					Motor_trapezoid_PID(0, 2700, 2700, 25000, 90 + 90 + 180);
					Motor_trapezoid_PID(2700, 2700, 2700, 15000, 2);
					Motor_Sula_COS(2700, 45, 2850, 100000);
					Motor_trapezoid(2700, 2700, 2700, 15000, 85);
					Motor_NANAME_PID(2700, 2700, 2700, 30000, 127.3);

					Motor_NANAME_PID(2700, 2700, 2700, 15000, 23);
					Motor_Sula_COS(2700, 135, 2000, 100000);
					Motor_trapezoid(2700, 2700, 2700, 15000, 117);
					Motor_trapezoid(2700, 2700, 0, 30000, 180);

					Motor_Stop();

					HAL_Delay(500);
					Suction_Stop();
					LOG_get_end();

					Encorder_count_reset();
				}
			} else if (Encorder_number_out() == 7) {		//
				if (Sensor_Enter() == 1) {
					Buzzer_Enter();
					Sensor_Start();

					Motor_Setup();
					Suction_Start(85);

					HAL_Delay(1000);
					LOG_get_start();

					Motor_trapezoid_PID(0, 2700, 2700, 25000, 90 + 90 + 180);
					Motor_trapezoid_PID(2700, 2700, 2700, 15000, 2);
					Motor_Sula_COS(2700, 45, 2850, 100000);
					Motor_trapezoid(2700, 2700, 2700, 15000, 85);
					Motor_NANAME_PID(2700, 2700, 2700, 30000, 127.3);

					Motor_trapezoid(2700, 2700, 2700, 15000, 18);
					Motor_Sula_COS(2700, 82, 2800, 180000);
					Motor_trapezoid(2700, 2700, 2700, 15000, 97);
					Motor_trapezoid(2700, 2700, 0, 30000, 127.3 * 2);

					Motor_Stop();

					HAL_Delay(500);
					Suction_Stop();
					LOG_get_end();

					Encorder_count_reset();
				}
			}
		} else if (Encorder_mode_out() == 9) {		//3m/s
			if (Encorder_number_out() == 0) {		//
				if (Sensor_Enter() == 1) {
					Buzzer_Enter();
					Sensor_Start();
				}
			} else if (Encorder_number_out() == 1) {		//
				if (Sensor_Enter() == 1) {
					Buzzer_Enter();
					Sensor_Start();

					Motor_Setup();
					Suction_Start(90);

					HAL_Delay(1000);
					LOG_get_start();
					Motor_trapezoid_PID(0, 3000, 3000, 20000, 180 + 90 + 90);
					Motor_trapezoid_PID(3000, 3000, 3000, 15000, 5);
					//Motor_Wallcut_ST(2000, 50, 0);
					Motor_Sula_COS(3000, 87.5, 2500, 80000);
					Motor_trapezoid(3000, 3000, 3000, 15000, 85);
					Motor_trapezoid(3000, 3000, 0, 25000, 270);

					Motor_Stop();

					HAL_Delay(500);
					Suction_Stop();
					LOG_get_end();

					Encorder_count_reset();
				}
			} else if (Encorder_number_out() == 2) {		//
				if (Sensor_Enter() == 1) {
					Buzzer_Enter();
					Sensor_Start();

				}
			} else if (Encorder_number_out() == 3) {		//
				if (Sensor_Enter() == 1) {
					Buzzer_Enter();
					Sensor_Start();
				}
			} else if (Encorder_number_out() == 4) {		//
				if (Sensor_Enter() == 1) {
					Buzzer_Enter();
					Sensor_Start();
				}
			} else if (Encorder_number_out() == 5) {		//
				if (Sensor_Enter() == 1) {
					Buzzer_Enter();
					Sensor_Start();
				}
			} else if (Encorder_number_out() == 6) {		//
				if (Sensor_Enter() == 1) {
					Buzzer_Enter();
					Sensor_Start();
				}
			} else if (Encorder_number_out() == 7) {		//
				if (Sensor_Enter() == 1) {
					Buzzer_Enter();
					Sensor_Start();
				}
			}
		} else if (Encorder_mode_out() == 10) {		//ターンごとの通過速度のターン単体テスト
			/* No.1〜7: Short_NANAME_MoveTurnV の TurnV_Table の速度とパラメータで、ターンを1つ(左)。
			 * 1=大回り90, 2=大回り180, 3=斜め入り45, 4=斜め入り135, 5=斜め出45, 6=斜め出135, 7=V90 */
			int n = Encorder_number_out();
			if ((n >= 1) && (n <= 7) && (Sensor_Enter() == 1)) {
				Buzzer_Enter();
				Sensor_Start();

				Motor_Setup();
				Suction_Start(70);

				HAL_Delay(1000);
				LOG_get_start();
				TurnV_Test(n - 1);

				Motor_Stop();

				HAL_Delay(500);
				Suction_Stop();
				LOG_get_end();

				Encorder_count_reset();
			}
		} else if (Encorder_mode_out() == 11) {		//2200のターンの停止位置テスト(Turn-Sim_KOGUMA)
			/* No.1〜7: Move.c の G_Turn2200 の値で、ターンを1つ(左)。後ろの直線(斜めに出るなら 254.6mm、まっすぐ出るなら 180mm)で止まる(壁制御なし)。
			 * 1=大回り90, 2=大回り180, 3=斜め入り45, 4=斜め入り135, 5=斜め出45, 6=斜め出135, 7=V90。
			 * 止まった位置を、理想の停止位置からのずれ(前後・横)として測り、シミュレーターに入れる */
			int n = Encorder_number_out();
			if ((n >= 1) && (n <= 7) && (Sensor_Enter() == 1)) {
				Buzzer_Enter();
				Sensor_Start();

				Motor_Setup();
				Suction_Start(70);

				HAL_Delay(1000);
				LOG_get_start();
				Turn2200_Test(n);

				Motor_Stop();

				HAL_Delay(500);
				Suction_Stop();
				LOG_get_end();

				Encorder_count_reset();
			}
		}
	}
	/* USER CODE END 3 */
}

void SystemClock_Config(void) {
	RCC_OscInitTypeDef RCC_OscInitStruct = { 0 };
	RCC_ClkInitTypeDef RCC_ClkInitStruct = { 0 };

	/** Configure the main internal regulator output voltage
	 */
	__HAL_RCC_PWR_CLK_ENABLE();
	__HAL_PWR_VOLTAGESCALING_CONFIG(PWR_REGULATOR_VOLTAGE_SCALE1);

	/** Initializes the RCC Oscillators according to the specified parameters
	 * in the RCC_OscInitTypeDef structure.
	 */
	RCC_OscInitStruct.OscillatorType = RCC_OSCILLATORTYPE_HSE;
	RCC_OscInitStruct.HSEState = RCC_HSE_ON;
	RCC_OscInitStruct.PLL.PLLState = RCC_PLL_ON;
	RCC_OscInitStruct.PLL.PLLSource = RCC_PLLSOURCE_HSE;
	RCC_OscInitStruct.PLL.PLLM = 5;
	RCC_OscInitStruct.PLL.PLLN = 180;
	RCC_OscInitStruct.PLL.PLLP = RCC_PLLP_DIV2;
	RCC_OscInitStruct.PLL.PLLQ = 2;
	RCC_OscInitStruct.PLL.PLLR = 2;
	if (HAL_RCC_OscConfig(&RCC_OscInitStruct) != HAL_OK) {
		Error_Handler();
	}

	/** Activate the Over-Drive mode
	 */
	if (HAL_PWREx_EnableOverDrive() != HAL_OK) {
		Error_Handler();
	}

	/** Initializes the CPU, AHB and APB buses clocks
	 */
	RCC_ClkInitStruct.ClockType = RCC_CLOCKTYPE_HCLK | RCC_CLOCKTYPE_SYSCLK
			| RCC_CLOCKTYPE_PCLK1 | RCC_CLOCKTYPE_PCLK2;
	RCC_ClkInitStruct.SYSCLKSource = RCC_SYSCLKSOURCE_PLLCLK;
	RCC_ClkInitStruct.AHBCLKDivider = RCC_SYSCLK_DIV1;
	RCC_ClkInitStruct.APB1CLKDivider = RCC_HCLK_DIV4;
	RCC_ClkInitStruct.APB2CLKDivider = RCC_HCLK_DIV2;

	if (HAL_RCC_ClockConfig(&RCC_ClkInitStruct, FLASH_LATENCY_5) != HAL_OK) {
		Error_Handler();
	}
}

/* USER CODE BEGIN 4 */

/* 1区画ぶんの探索動作。flags で走り方を選ぶ */
static void Maze_Search_Action(int flags) {
	if (flags & SEARCH_KNOWN) {
		G_Known_Naname = (flags & SEARCH_KNOWN_NANAME) ? 1 : 0;
		Robot_Maze_Pass_Action();
		G_Known_Naname = 0;
	} else if (flags & SEARCH_SUCTION) {
		Robot_Maze_Suction_Action();
	} else {
		Robot_Maze_Sula_Action();
	}
}

/* (G_Gool_X, G_Gool_Y) に着くまで探索する */
static void Maze_Search_Until_Goal(int flags) {
	while (G_MAZE_Explored[G_Gool_X][G_Gool_Y] == 0) {
		if (Failsafe_Flag() == 1) {
			break;
		}
		Maze_Search_Action(flags);
		G_MAZE_Explored[G_Robot_MAZE_X][G_Robot_MAZE_Y] = 1;
	}
}

/* ダイクストラ誘導の未知壁探索で、経路上の未確認の壁がなくなったら1 */
static int s_unknown_done = 0;
/* 今見に行っている経路の、最短走行の値の組(G_Short_Run_Set の番号) */
static int s_unknown_set = 0;

/* 止まっているあいだに呼ぶ計算(G_Stop_Hook)。スタート→ゴールのダイクストラ経路を
 * 作り直し、経路上でまだ見ていない最初の壁の手前の区画を目標にした歩数マップを作る。
 * 見る壁がなければ、スタートへ帰る歩数マップにする。
 * 経路は、よく使う最短走行の値の組(G_Short_Run_Set)ごとに、それぞれの時間で一番速いもの(2026-10-27)。
 * 前の組から順に求めて、未確認の壁が残っている最初の組の経路を見に行く。
 * 経路の壁を全部見た組は、そのあとほかの壁がわかっても一番速いままなので、もう一度見なくてよい */
static void Maze_Unknown_Walls_Plan(void) {
	G_Gool_X = MAZE_GOOL_X;
	G_Gool_Y = MAZE_GOOL_Y;
	int found = 0;
	for (int k = 0; (k < SHORT_RUN_SET_NUM) && !found; k++) {
		Maze_Dijkstra_Set_Run(&G_Short_Run_Set[k]);
		Maze_Dijkstra_Calculation();
		if (Maze_Unknown_Wall_Scan() == 1) {
			found = 1;
			s_unknown_set = k;
		}
	}
	if (found) {
		Maze_Unknown_Target_ModeSet(G_Unknown_Target_X, G_Unknown_Target_Y);
		s_unknown_done = 0;
	} else {
		Maze_Unkown_ALL_ModeOFF();
		G_Gool_X = 0;
		G_Gool_Y = 0;
		G_MAZE_Explored[0][0] = 0;
		s_unknown_done = 1;
	}
	Maze_Step_Calculate();
}

/* ゴールに着いたあと、スタート→ゴールのダイクストラ経路上に残っている
 * 未確認の壁を、今いる位置から直接見に行く。
 * ダイクストラの計算は機体が止まっているときだけ行う:
 *   - ゴールに着いた直後: 次の区画の中央で止まって計算してから発進
 *     (Robot_Maze_Stop_And_Go)
 *   - Uターンしたとき: Uターンで止まっているあいだに計算する(G_Stop_Hook)。
 *     行き止まりでなければ、計算した結果で進む向きを決め直す
 *   - 目標に辿り着けなかったとき(異常系): 次の区画で止まって計算する
 *   - 見に行った壁が実際にあったとき(経路がふさがれた): 次の区画で止まって計算する
 *     (2026-10-13 追加。以前は計算し直さずに古い経路の残りの壁を確認して終わり、
 *      もっと短い別の経路を一度も見に行かないことがあった。東北大会で下回りが55区画、
 *      上回りが57区画の迷路で、下回りを確認せずに上回りを走った)
 * 止まって計算するときは、前に壁があれば壁合わせもする(Robot_Maze_Stop_And_Go)。
 * 壁がなかった(通れた)ときは、止まらずに同じ経路データのまま次の未確認の壁を探す
 * (Maze_Unknown_Wall_Scan()は壁の確認状況をその都度ライブ判定する。
 *  ダイクストラは計算し直さず、歩数マップだけ走りながら作り直す) */
static void Maze_Search_Unknown_Walls(int flags, int from_stop) {
	int suction = (flags & SEARCH_SUCTION) ? 1 : 0;

	if (Failsafe_Flag() == 1) {
		return;
	}
	s_unknown_done = 0;
	s_unknown_set = 0;
	G_Unknown_Target_Lost = 0;
	G_Stop_Hook = Maze_Unknown_Walls_Plan;
	if (from_stop) {
		/* 止まっている(最短走行のあと、ゴールの区画の中心。Maze_Return_From_Goal)。ここで計算してから、
		 * 前(来た区画)へまっすぐ出る。止まった区画のほかの壁は見ていないことがあるので、ほかの向きへは出ない */
		Maze_Unknown_Walls_Plan();
		Motor_trapezoid_PID(0, suction ? 1000 : 500, suction ? 1000 : 500,
				suction ? 10000 : 5000, 90);
	} else {
		Robot_Maze_Stop_And_Go(suction);
	}
	G_MAZE_Explored[G_Robot_MAZE_X][G_Robot_MAZE_Y] = 1;

	while ((Failsafe_Flag() == 0) && (s_unknown_done == 0)) {
		int sub_steps = 0;
		while ((Maze_Unknown_Wall_Still_Unknown() == 1)
				&& (sub_steps < MAX_STEP) && (s_unknown_done == 0)
				&& (G_Unknown_Target_Lost == 0)) {
			if (Failsafe_Flag() == 1) {
				break;
			}
			Maze_Search_Action(flags);
			G_MAZE_Explored[G_Robot_MAZE_X][G_Robot_MAZE_Y] = 1;
			sub_steps++;
		}
		if ((Failsafe_Flag() == 1) || (s_unknown_done == 1)) {
			break;
		}
		Maze_Save();

		if ((sub_steps >= MAX_STEP) || G_Unknown_Target_Lost) {
			//目標に辿り着けなかった・行けなくなった(見に行く途中でほかの壁が見つかった。2026-10-27):
			//止まってダイクストラから計算し直す
			Robot_Maze_Stop_And_Go(suction);
			G_MAZE_Explored[G_Robot_MAZE_X][G_Robot_MAZE_Y] = 1;
			continue;
		}
		int scan = Maze_Unknown_Wall_Scan();
		if (Maze_Unknown_Wall_Is_Wall() || (scan == 2)) {
			//壁があって経路がふさがれた(見に行った壁、または途中で見つかったほかの経路の壁):
			//止まって(壁合わせをして)ダイクストラから計算し直す
			Robot_Maze_Stop_And_Go(suction);
			G_MAZE_Explored[G_Robot_MAZE_X][G_Robot_MAZE_Y] = 1;
		} else if (scan == 1) {
			//壁がなかった(通れた): 同じ経路で次の未確認の壁へ
			Maze_Unknown_Target_ModeSet(G_Unknown_Target_X, G_Unknown_Target_Y);
			Maze_Step_Calculate();
		} else if (s_unknown_set < SHORT_RUN_SET_NUM - 1) {
			//この組の経路の壁は全部見た。うしろの組の経路は求め直さないとわからないので、止まって計算する(2026-10-27)
			Robot_Maze_Stop_And_Go(suction);
			G_MAZE_Explored[G_Robot_MAZE_X][G_Robot_MAZE_Y] = 1;
		} else {
			//経路上の未確認の壁がなくなった
			Maze_Unkown_ALL_ModeOFF();
			s_unknown_done = 1;
		}
	}
	G_Stop_Hook = NULL;
	Maze_Unkown_ALL_ModeOFF();
	if (Failsafe_Flag() == 0) {
		Maze_Save();
	}
}

/* 最短走行のあと、ゴールで止まったところからスタートへ帰る(2026-10-20、モード0 No.11)。
 * 止まった区画と向きは、最短走行が走る前に命令列から求めた値(Move.c の G_Short_End_*、Maze.c の Short_Pass_End_Cell。
 * ゴールに入った区画の1つ奥の区画の中心)。命令列は走っているあいだに書き換わるので、走ったあとに求めてはいけない。
 * 最短走行の最後の Robot_adjustment で180°向きを変えているので、来た区画のほうを向いている。
 * 帰りもダイクストラ誘導の未知壁探索(経路上に見ていない壁があれば見に行き、なければそのまま帰る)。
 * 戻り値: 1 スタートに帰った、0 帰れなかった(最短がゴールまで走れなかった、フェイルセーフなど) */
static int Maze_Return_From_Goal(int flags) {
	if (!G_Short_Reached || !G_Short_End_OK || (Failsafe_Flag() == 1)) {
		return 0;
	}
	int x = G_Short_End_X, y = G_Short_End_Y, dir = G_Short_End_Dir;
	Maze_Road();	//最短走行が見ていない壁を壁で埋めた(Maze_Wall_fill)ので、保存した迷路に戻す
	G_Robot_MAZE_X = x;
	G_Robot_MAZE_Y = y;
	G_Robot_Direction = (dir + 2) % 4;
	G_Robot_Lastaction = 5;
	G_MAZE_Explored[x][y] = 1;

	Motor_Setup();	//吸引を回す前にジャイロのゼロ点を測る
	Motor_Stop();
	/* 前(来た区画)はいつも開いているはず。前センサが壁を見ていたら、向きか位置が思っているのと違うので帰らない
	 * (区画の中心で前壁があれば約530。Move.c の ALIGN_FRONT_MIN と同じ200で見る) */
	if (Wall_Flont_Av() > 200) {
		LED_Path_Error();
		return 0;
	}
	if (flags & SEARCH_SUCTION) {
		Suction_Start(35);
	}
	Maze_Search_Unknown_Walls(flags, 1);
	if (Failsafe_Flag() == 0) {
		G_Gool_X = 0;
		G_Gool_Y = 0;
		G_MAZE_Explored[G_Gool_X][G_Gool_Y] = 0;
		Maze_Step_Calculate();
		Maze_Search_Until_Goal(flags);
	}
	Motor_Stop();
	if (flags & SEARCH_SUCTION) {
		Suction_Stop();
	}
	if (Failsafe_Flag() == 1) {
		/* 最後に壁を書いた5区画を戻して保存する(解除は main の Failsafe_Wait_Reset) */
		Maze_Undo_Recent_Cells();
		Maze_Save();
		return 0;
	}
	Maze_Save();
	return 1;
}

/* モード0の探索。往路(スタート→ゴール)のあと、flags に応じて
 * 片道ならゴールで止まり、そうでなければ(全面探索・未知壁探索をしながら)
 * スタートへ戻る。区間の終わりごとに Maze_Save() する。
 * SEARCH_SHORTEST なら、スタートに戻ったあと2秒待って最短走行する
 * (SEARCH_REPEAT なら SEARCH_REPEAT_N 回。2回目からは前の最短のゴールから帰ってから。Maze_Return_From_Goal) */
static void Maze_Search(int flags) {
	int v = (flags & (SEARCH_SUCTION | SEARCH_KNOWN)) ? 1000 : 500;

	Buzzer_Enter();
	Sensor_Start();

	Motor_Setup();
	Motor_Stop();
	Maze_Undo_Clear();	//フェイルセーフのときに戻すのは、この探索で書いた壁だけ
	Search_Cut_Reset();	//探索の直進の壁切れのログ(出力はモード4 No.7)
	if (flags & SEARCH_SUCTION) {
		Suction_Start(35);
	}

	//往路: スタート→ゴール
	G_Gool_X = MAZE_GOOL_X;
	G_Gool_Y = MAZE_GOOL_Y;
	G_Robot_MAZE_X = 0;
	G_Robot_MAZE_Y = 0;
	G_Robot_Direction = 0;
	G_MAZE_Explored[G_Gool_X][G_Gool_Y] = 0;

	/* 走り出しの114mmで探索速度まで加速する(cos加速で必要な距離は
	 * π*v^2/(4*ac))。1000mm/sは5000だと157mm必要で届かず、約930mm/sで
	 * 約136mm進んでから目標速度が1000に跳び、最初の判断位置が約22mm
	 * 遅れていた。7000なら112mmで届く。500mm/sは5000で39mmなので足りている */
	float start_ac = (v > 500) ? 7000 : 5000;
	Motor_trapezoid_PID(0, v, v, start_ac, 24 + 90);
	Maze_Search_Until_Goal(flags);
	Maze_Save();
	//ゴール後の最初の吸引探索のUターンからログを取る(モード4 No.7で出力)
	G_Log_Next_UTurn = 1;

	if (flags & SEARCH_ONEWAY) {
		//片道: ゴール区画に入ったところで、Uターンのときと同じ減速で止まる
		if (Failsafe_Flag() == 0) {
			Motor_trapezoid(v, v, 0, 5000, 70);
		}
	} else {
		if (flags & SEARCH_DIJKSTRA) {
			Maze_Search_Unknown_Walls(flags, 0);
		}
		if (flags & SEARCH_ALL) {
			Maze_Unkown_ALL_ModeSet();
		}

		//復路: スタートへ戻る
		if (Failsafe_Flag() == 0) {
			G_Gool_X = 0;
			G_Gool_Y = 0;
			G_MAZE_Explored[G_Gool_X][G_Gool_Y] = 0;
			Maze_Step_Calculate();
			Maze_Search_Until_Goal(flags);
		}
	}

	Motor_Stop();
	if (flags & SEARCH_SUCTION) {
		Suction_Stop();
	}
	if (Failsafe_Flag() == 0) {
		Maze_Save();
		if ((flags & SEARCH_SHORTEST) && !(flags & SEARCH_ONEWAY)) {
			/* 最短走行(モード1 No.5と同じ: ダイクストラ、コーナー2000、直線6000mm/s、加速20000)。
			 * SEARCH_REPEAT なら SEARCH_REPEAT_N 回。2回目からは、前の最短のゴールからスタートへ帰ってから走る。
			 * 走行ログ・壁切れのログは、最後に走った最短のものが残る */
			int runs = (flags & SEARCH_REPEAT) ? SEARCH_REPEAT_N : 1;
			int done = 0;
			for (int k = 0; k < runs; k++) {
				if ((k > 0) && !Maze_Return_From_Goal(flags)) {
					break;
				}
				done++;
				HAL_Delay(2000);
				Motor_Setup();
				Motor_Stop();
				G_WallCut_Pillar = Short_WallCut_Pillar;
				Edge_Log_Start(0, -1, -1);
				G_Log_Div = 4;		//走行ログは4msおき(6.4秒)
				LOG_get_start();
				Short_Dijkstra_Move2000(6000, 20000);
				LOG_get_end();
				G_Log_Div = 1;
				Edge_Log_Stop();
				G_WallCut_Pillar = 0;
				LED_Reset();
				HAL_Delay(500);
			}
			/* SEARCH_REPEAT: 最後の最短のあともスタートへ帰り(自律賞は、全部の走行を終えて最後にスタートへ戻るまで
			 * ノータッチが条件。NTF の評価基準)、帰れたら曲を流す */
			if ((flags & SEARCH_REPEAT) && (done == runs) && Maze_Return_From_Goal(flags)) {
				Buzzer_Finish();
			}
		}
	} else {
		/* フェイルセーフで止まった(2026-10-27、ToraNeko.Mk3 と同じ): ぶつかる直前はずれた位置・向きで壁を読んだかもしれないので、
		 * 最後に壁を書いた5区画を書く前の状態に戻してから保存する。電源を切らずに探索をやり直したり最短を走ったりしても、
		 * その壁は使わない。解除は main の Failsafe_Wait_Reset(スイッチを押す) */
		Maze_Undo_Recent_Cells();
		Maze_Save();
	}
	G_Log_Next_UTurn = 0;
	Motor_Free();
	LED_Reset();
	Encorder_count_reset();
}

/* 出力(モード4 No.7)。いまRAMに残っているデータを全部、tools/viewer.html で読める形で出す
 * (迷路、壁切れのログ、走行ログの順。ないものは出さない。ビューアが種類ごとに分ける) */
static void Output_All(void) {
	Maze_Debug_Dump();
	if (Edge_Log_Has_Data()) {
		Edge_Log_Print();
	}
	if (LOG_Has_Data()) {
		LOG_print();
	}
	if (SensorNoise_Has_Data()) {
		SensorNoise_Print();
	}
	if (Search_Cut_Has_Data()) {
		Search_Cut_Print();
	}
	printf("\r\n#DONE\r\n");
}

/* モード1の最短走行。run に Short_*_Move* を渡す */
static void Maze_Shortest_Run(void (*run)(int, int), int max, int ac) {
	Buzzer_Enter();
	Sensor_Start();

	Motor_Setup();
	Motor_Stop();
	G_WallCut_Pillar = Short_WallCut_Pillar;
	Edge_Log_Start(0, -1, -1);	//壁切れのログ(出力はモード4 No.7)
	G_Log_Div = 4;		//走行ログは4msおき(6.4秒)
	LOG_get_start();
	run(max, ac);
	LOG_get_end();
	G_Log_Div = 1;
	Edge_Log_Stop();
	G_WallCut_Pillar = 0;
	Motor_Free();
	LED_Reset();
	HAL_Delay(500);
	Encorder_count_reset();
}

/* USER CODE END 4 */

void Error_Handler(void) {
	__disable_irq();
	while (1) {
	}
}
